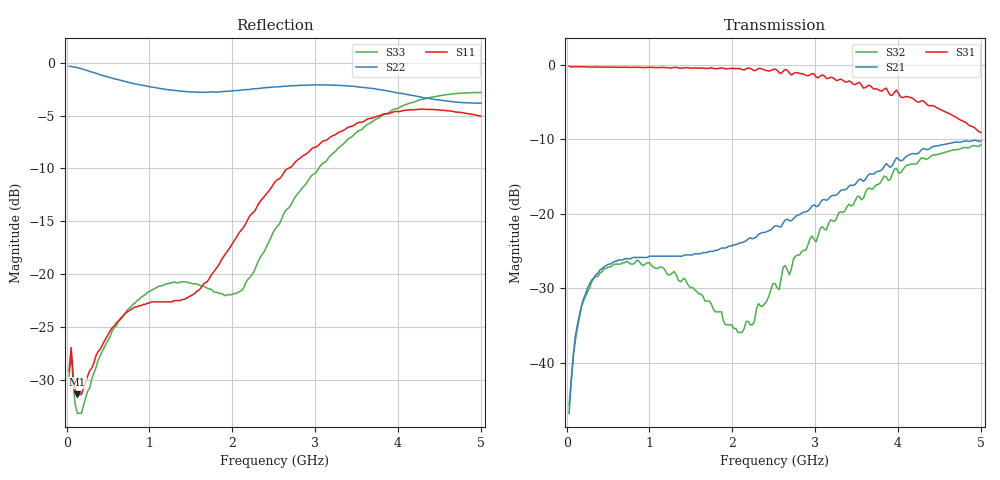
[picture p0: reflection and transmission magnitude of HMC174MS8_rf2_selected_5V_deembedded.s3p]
!Hittite Microwave Corporation
!12 Elizabeth Drive
!Chelmsford, MA 01824
!Tel: 978-250-3343
!Fax: 978-250-3373
!Device: HMC174MS8, DC - 3 GHz T/R Switch in 8-lead MSOP package
!Misc: Port1=RFC, Port2= RF1, Port3=RF2, RF2 ON, Bias: +5VDC
# MHZ S MA R 50
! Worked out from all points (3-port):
!   201 points, 30 MHz to 5 GHz, reference 50 ohm
!   strongest paths, dB at 30 MHz, 1.272 GHz, 2.515 GHz, 3.757 GHz, 5 GHz:
!     S31: -0.2, -0.4, -0.6, -3.3, -9.1
!     S21: -46.8, -25.7, -21.6, -14.3, -10.2
!     S32: -45.6, -28.0, -29.4, -16.1, -10.7
!   lowest |S11| = -31.4 dB at 129.4 MHz (marker M1), VSWR 1.06, Z = 48 - j1.76 ohm
!   |S11| at or under -10 dB: start of sweep to 2.674 GHz
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30  0.035 -126.6  0.004655 61.3  0.981 0.0
    0.004586 63.1  0.962 -10.2  0.005211 55.0
    0.98 0.1  0.005242 53.8  0.033 -113.1
129.4  0.027 -137.4  0.018 66.4  0.971 -3.9
       0.018 66.9  0.946 -40.6  0.017 65.4
       0.971 -3.9  0.017 65.0  0.022 -121.0
353.05  0.041 -134.4  0.039 46.1  0.968 -10.7
        0.039 46.4  0.891 -98.3  0.037 40.1
        0.969 -10.8  0.038 39.6  0.036 -110.1
825.2  0.07 -154.8  0.052 26.9  0.96 -24.3
       0.051 25.2  0.795 -174.0  0.047 9.6
       0.961 -24.4  0.047 11.1  0.073 -109.7
1595.55  0.084 126.0  0.054 25.3  0.952 -47.6
         0.054 25.0  0.724 101.4  0.03 -10.2
         0.95 -47.6  0.029 -9.3  0.089 -137.0
2142.25  0.168 66.2  0.067 37.1  0.923 -65.7
         0.065 32.4  0.744 51.2  0.016 37.3
         0.924 -65.0  0.017 43.5  0.087 149.7
2515  0.273 38.3  0.084 30.1  0.922 -78.5
      0.083 34.1  0.768 23.2  0.033 73.3
      0.937 -79.5  0.034 66.5  0.163 91.4
3807.2  0.567 -39.9  0.208 16.0  0.67 -125.2
        0.198 14.9  0.742 -55.8  0.161 44.7
        0.667 -124.2  0.169 47.5  0.562 10.5
4428.45  0.6 -88.6  0.287 -15.3  0.526 -146.3
         0.284 -14.2  0.671 -97.8  0.242 14.7
         0.531 -146.1  0.249 13.8  0.689 -30.4
5000  0.558 -144.1  0.311 -45.4  0.353 -159.9
      0.309 -43.9  0.643 -138.3  0.287 -13.8
      0.352 -159.6  0.291 -14.7  0.722 -77.5
